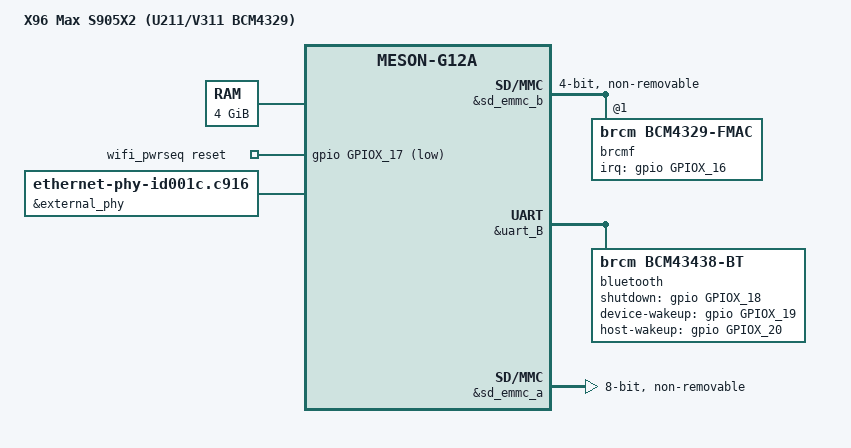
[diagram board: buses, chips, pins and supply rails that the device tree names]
// SPDX-License-Identifier: (GPL-2.0+ OR MIT)
/*
 * Device Tree for X96 Max S905X2 (U211/V311)
 * - Amlogic G12A (S905X2) SoC
 * - RTL8211F + BCM4329 Wi-Fi/BT
 * - 4GB DDR4 + 64GB eMMC
 * - Linux 6.6 内核适配
 */

/dts-v1/;

#include "meson-g12a.dtsi"
#include <dt-bindings/gpio/gpio.h>
#include <dt-bindings/interrupt-controller/irq.h>

/ {
    model = "X96 Max S905X2 (U211/V311 BCM4329)";
    compatible = "amlogic,x96-max-u211", "amlogic,g12a";

    /* 内存配置 */
    memory@0 {
        device_type = "memory";
        reg = <0x0 0x0 0x0 0x100000000>;  // 4GB
    };

    /* Wi-Fi 电源控制 */
    wifi_pwrseq: wifi-pwrseq {
        compatible = "mmc-pwrseq-simple";
        reset-gpios = <&gpio GPIOX_17 GPIO_ACTIVE_LOW>;
        post-power-on-delay-ms = <100>;
    };

/* 以太网 (RTL8211F) */
&ethmac {
    status = "okay";
    phy-handle = <&external_phy>;
    phy-mode = "rgmii-id";
    pinctrl-0 = <&eth_pins>;
    pinctrl-names = "default";
    amlogic,rx-delay-ns = <2>;
    amlogic,tx-delay-ns = <2>;
    snps,reset-gpios = <&gpio GPIOZ_15 GPIO_ACTIVE_LOW>;
    snps,reset-delays-us = <0 10000 100000>;
};

&external_phy {
    compatible = "ethernet-phy-id001c.c916";
    reg = <0>;
    max-speed = <1000>;
    clocks = <&clkc CLKID_ETH_PHY>;
    clock-names = "eth_phy";
};

/* SDIO Wi-Fi (BCM4329) */
&sd_emmc_b {
    status = "okay";
    bus-width = <4>;
    max-frequency = <50000000>;
    non-removable;
    cap-sd-highspeed;
    mmc-pwrseq = <&wifi_pwrseq>;

    #address-cells = <1>;
    #size-cells = <0>;

    brcmf: wifi@1 {
        compatible = "brcm,bcm4329-fmac";
        reg = <1>;
        interrupt-parent = <&gpio>;
        interrupts = <GPIOX_16 IRQ_TYPE_EDGE_FALLING>;
        interrupt-names = "host-wake";
        brcm,drive-strength = <10>;
    };
};

/* 蓝牙 UART */
&uart_B {
    status = "okay";
    pinctrl-0 = <&uart_b_pins>, <&uart_b_cts_rts_pins>;
    pinctrl-names = "default";
    bluetooth {
        compatible = "brcm,bcm43438-bt";
        shutdown-gpios = <&gpio GPIOX_18 GPIO_ACTIVE_HIGH>;
        device-wakeup-gpios = <&gpio GPIOX_19 GPIO_ACTIVE_HIGH>;
        host-wakeup-gpios = <&gpio GPIOX_20 GPIO_ACTIVE_HIGH>;
    };
};

/* eMMC 存储 */
&sd_emmc_a {
    status = "okay";
    bus-width = <8>;
    max-frequency = <200000000>;
    non-removable;
    cap-mmc-highspeed;
    mmc-hs200-1_8v;
    mmc-ddr-1_8v;
};
};
